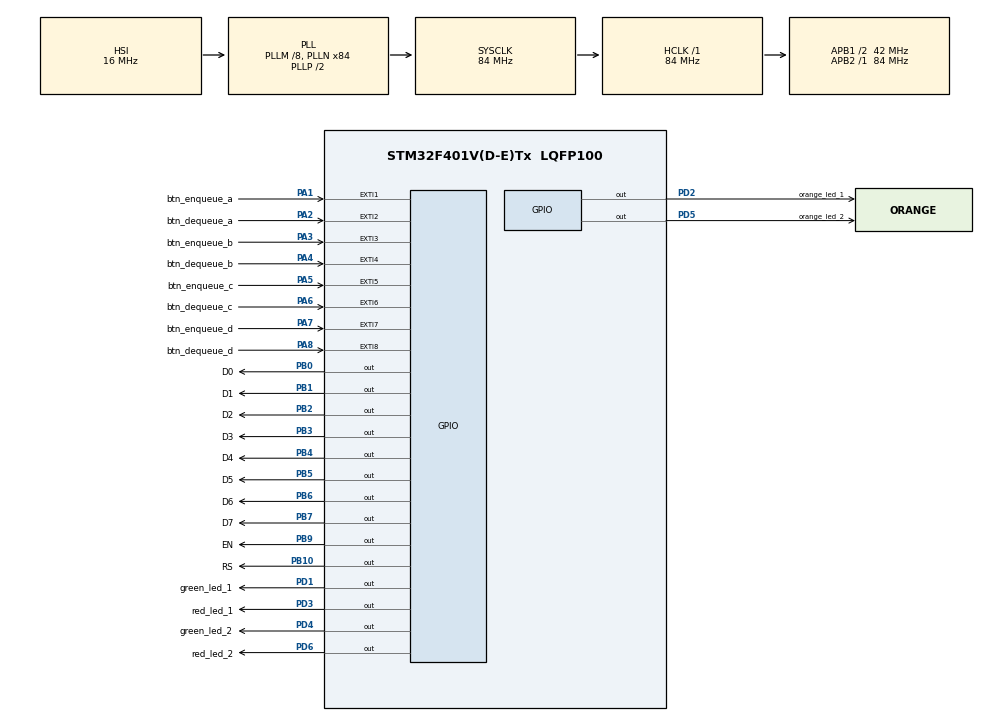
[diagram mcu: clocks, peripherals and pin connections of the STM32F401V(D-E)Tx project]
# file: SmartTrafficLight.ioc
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Mcu.Family=STM32F4
Mcu.Name=STM32F401V(D-E)Tx
Mcu.Package=LQFP100
NVIC.EXTI1_IRQn=true\:0\:0\:false\:false\:true\:true\:true
NVIC.EXTI2_IRQn=true\:0\:0\:false\:false\:true\:true\:true
NVIC.EXTI3_IRQn=true\:0\:0\:false\:false\:true\:true\:true
NVIC.EXTI4_IRQn=true\:0\:0\:false\:false\:true\:true\:true
NVIC.EXTI9_5_IRQn=true\:0\:0\:false\:false\:true\:true\:true
NVIC.PriorityGroup=NVIC_PRIORITYGROUP_4
PA1.GPIO_Label=btn_enqueue_a
PA1.GPIO_PuPd=GPIO_PULLUP
PA1.Signal=GPXTI1
PA2.GPIO_Label=btn_dequeue_a
PA2.Signal=GPXTI2
PA3.GPIO_Label=btn_enqueue_b
PA3.Signal=GPXTI3
PA4.GPIO_Label=btn_dequeue_b
PA4.Signal=GPXTI4
PA5.GPIO_Label=btn_enqueue_c
PA5.Signal=GPXTI5
PA6.GPIO_Label=btn_dequeue_c
PA6.Signal=GPXTI6
PA7.GPIO_Label=btn_enqueue_d
PA7.Signal=GPXTI7
PA8.GPIO_Label=btn_dequeue_d
PA8.Signal=GPXTI8
PB0.GPIO_Label=D0
PB0.Signal=GPIO_Output
PB1.GPIO_Label=D1
PB1.Signal=GPIO_Output
PB10.GPIO_Label=RS
PB10.Signal=GPIO_Output
PB2.GPIO_Label=D2
PB2.Signal=GPIO_Output
PB3.GPIO_Label=D3
PB3.Signal=GPIO_Output
PB4.GPIO_Label=D4
PB4.Signal=GPIO_Output
PB5.GPIO_Label=D5
PB5.Signal=GPIO_Output
PB6.GPIO_Label=D6
PB6.Signal=GPIO_Output
PB7.GPIO_Label=D7
PB7.Signal=GPIO_Output
PB9.GPIO_Label=EN
PB9.Signal=GPIO_Output
PD1.GPIO_Label=green_led_1
PD1.Signal=GPIO_Output
PD2.GPIO_Label=orange_led_1
PD2.Signal=GPIO_Output
PD3.GPIO_Label=red_led_1
PD3.Signal=GPIO_Output
PD4.GPIO_Label=green_led_2
PD4.Signal=GPIO_Output
PD5.GPIO_Label=orange_led_2
PD5.Signal=GPIO_Output
PD6.GPIO_Label=red_led_2
PD6.Signal=GPIO_Output
PH0\ -\ OSC_IN.Mode=HSE-External-Oscillator
PH0\ -\ OSC_IN.Signal=RCC_OSC_IN
PH1\ -\ OSC_OUT.Mode=HSE-External-Oscillator
PH1\ -\ OSC_OUT.Signal=RCC_OSC_OUT
ProjectManager.HeapSize=0x200
ProjectManager.StackSize=0x400
ProjectManager.TargetToolchain=STM32CubeIDE
RCC.48MHZClocksFreq_Value=42000000
RCC.AHBFreq_Value=84000000
RCC.APB1CLKDivider=RCC_HCLK_DIV2
RCC.APB1Freq_Value=42000000
RCC.APB1TimFreq_Value=84000000
RCC.APB2Freq_Value=84000000
RCC.APB2TimFreq_Value=84000000
RCC.CortexFreq_Value=84000000
RCC.HCLKFreq_Value=84000000
RCC.HSE_VALUE=25000000
RCC.HSI_VALUE=16000000
RCC.LSE_VALUE=32768
RCC.PLLM=8
RCC.PLLN=84
RCC.SYSCLKFreq_VALUE=84000000
RCC.SYSCLKSource=RCC_SYSCLKSOURCE_PLLCLK
RCC.VCOOutputFreq_Value=168000000
board=custom

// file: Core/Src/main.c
/* USER CODE BEGIN Header */
/**
  ******************************************************************************
  * @file           : main.c
  * @brief          : Main program body
  ******************************************************************************
  * @attention
  *
  * <h2><center>&copy; Copyright (c) 2021 STMicroelectronics.
  * All rights reserved.</center></h2>
  *
  * This software component is licensed by ST under BSD 3-Clause license,
  * the "License"; You may not use this file except in compliance with the
  * License. You may obtain a copy of the License at:
  *                        opensource.org/licenses/BSD-3-Clause
  *
  ******************************************************************************
  */

#include "led.h"
#include "lcd16x2.h"
#include "traffic_manager.h"

/* USER CODE END Header */
#include "main.h"
#include "gpio.h"

void SystemClock_Config(void);

/* USER CODE BEGIN 0 */

int queue_a, queue_b, queue_c, queue_d;
int priority[2] = {0};
//static uint8_t lastButton_A_Status = GPIO_PIN_RESET;
int quota = 0; //nombre de vÃ©hicule qui doit libÃ©rer la voie avant de basculer

void show_quota(){
//	lcd16x2_clear();
	lcd16x2_setCursor(0, 0);
//	lcd16x2_1stLine();
	lcd16x2_printf("a:%d/b:%d/c:%d/d:%d", queue_a, queue_b, queue_c, queue_d);
//	lcd16x2_2ndLine();
	lcd16x2_setCursor(1,0);
	lcd16x2_printf("quota : %d      ", quota);
//	HAL_Delay(50);
//	lcd16x2_clear();
//	lcd16x2_cursorShow(1);
}

int check_value(int value)
{
	if(value < 0 || value >= 250)
		value = 0;
	return value;
}

void reanalyse(void){
	if(quota == 2){
		 blink_orange_led(priority);
		 show_quota();
	 }else if(quota == 0){
		 quota = analyse_queues_situation(&queue_a, &queue_b, &queue_c, &queue_d, priority);
	 }
}

/* USER CODE END 0 */

int main(void)
{

  /* MCU Configuration--------------------------------------------------------*/

  /* Reset of all peripherals, Initializes the Flash interface and the Systick. */
  HAL_Init();

  /* Configure the system clock */
  SystemClock_Config();

  /* Initialize all configured peripherals */
  MX_GPIO_Init();
  /* USER CODE BEGIN 2 */
  lcd16x2_init_4bits(RS_GPIO_Port, RS_Pin, EN_Pin,
		  D4_GPIO_Port, D4_Pin, D5_Pin, D6_Pin, D7_Pin);
  lcd16x2_twoLines();
  lcd16x2_cursorShow(0);

  /* USER CODE END 2 */

  /* Infinite loop */
  /* USER CODE BEGIN WHILE */

  queue_a =0, queue_b =0, queue_c = 0, queue_d = 0;

  while (1)
  {
	  show_quota();
//	  HAL_Delay(150);
	  if(queue_a == 0 && queue_b==0 && queue_c==0 && queue_d==0){
		  blink_led_off();
		  lcd16x2_clear();
		  lcd16x2_printf("Standby mode");
		  HAL_Delay(250);
	  } else{
		  if(quota == 0){
			  quota = analyse_queues_situation(&queue_a, &queue_b, &queue_c, &queue_d, priority);
		  }
		  show_quota();
	  }

    /* USER CODE END WHILE */

    /* USER CODE BEGIN 3 */

	  quota = check_value(quota);
	  queue_a = check_value(queue_a);
	  queue_b = check_value(queue_b);
	  queue_c = check_value(queue_c);
	  queue_d = check_value(queue_d);
//
//	  HAL_Delay(50);
  }
  /* USER CODE END 3 */
}

void SystemClock_Config(void)
{
  RCC_OscInitTypeDef RCC_OscInitStruct = {0};
  RCC_ClkInitTypeDef RCC_ClkInitStruct = {0};

  /** Configure the main internal regulator output voltage
  */
  __HAL_RCC_PWR_CLK_ENABLE();
  __HAL_PWR_VOLTAGESCALING_CONFIG(PWR_REGULATOR_VOLTAGE_SCALE2);
  /** Initializes the RCC Oscillators according to the specified parameters
  * in the RCC_OscInitTypeDef structure.
  */
  RCC_OscInitStruct.OscillatorType = RCC_OSCILLATORTYPE_HSI;
  RCC_OscInitStruct.HSIState = RCC_HSI_ON;
  RCC_OscInitStruct.HSICalibrationValue = RCC_HSICALIBRATION_DEFAULT;
  RCC_OscInitStruct.PLL.PLLState = RCC_PLL_ON;
  RCC_OscInitStruct.PLL.PLLSource = RCC_PLLSOURCE_HSI;
  RCC_OscInitStruct.PLL.PLLM = 8;
  RCC_OscInitStruct.PLL.PLLN = 84;
  RCC_OscInitStruct.PLL.PLLP = RCC_PLLP_DIV2;
  RCC_OscInitStruct.PLL.PLLQ = 4;
  if (HAL_RCC_OscConfig(&RCC_OscInitStruct) != HAL_OK)
  {
    Error_Handler();
  }
  /** Initializes the CPU, AHB and APB buses clocks
  */
  RCC_ClkInitStruct.ClockType = RCC_CLOCKTYPE_HCLK|RCC_CLOCKTYPE_SYSCLK
                              |RCC_CLOCKTYPE_PCLK1|RCC_CLOCKTYPE_PCLK2;
  RCC_ClkInitStruct.SYSCLKSource = RCC_SYSCLKSOURCE_PLLCLK;
  RCC_ClkInitStruct.AHBCLKDivider = RCC_SYSCLK_DIV1;
  RCC_ClkInitStruct.APB1CLKDivider = RCC_HCLK_DIV2;
  RCC_ClkInitStruct.APB2CLKDivider = RCC_HCLK_DIV1;

  if (HAL_RCC_ClockConfig(&RCC_ClkInitStruct, FLASH_LATENCY_2) != HAL_OK)
  {
    Error_Handler();
  }
}

void alert_empty_queue_error() {
	lcd16x2_1stLine();
	lcd16x2_printf("ERROR MESSAGE");
	lcd16x2_2ndLine();
	lcd16x2_printf("empty queue");
}

/* USER CODE BEGIN 4 */
void HAL_GPIO_EXTI_Callback(uint16_t GPIO_Pin)
{
	UNUSED(GPIO_Pin);

	if(GPIO_Pin == btn_enqueue_a_Pin){
		++queue_a;
	}

	if(GPIO_Pin == btn_dequeue_a_Pin){
		if(queue_a > 0 ){
			--queue_a;
			--quota;
			reanalyse();
		} else{
			alert_empty_queue_error();
		}
	}

	if(GPIO_Pin == btn_enqueue_b_Pin){
		++queue_b;
	}

	if(GPIO_Pin == btn_dequeue_b_Pin){
		if(queue_b > 0){
			--queue_b;
			--quota;
			reanalyse();
		}else{
			alert_empty_queue_error();
		}
	}

	if(GPIO_Pin == btn_enqueue_c_Pin){
		++queue_c;
	}

	if(GPIO_Pin == btn_dequeue_c_Pin){
		if(queue_c > 0){
			--queue_c;
			--quota;
			reanalyse();
		}else{
			alert_empty_queue_error();
		}
	}

	if(GPIO_Pin == btn_enqueue_d_Pin){
		++queue_d;
	}

	if(GPIO_Pin == btn_dequeue_d_Pin){
		if(queue_d > 0){
			--queue_d;
			--quota;
			reanalyse();
		}else{
			alert_empty_queue_error();
		}
	}

}
/* USER CODE END 4 */

void Error_Handler(void)
{
  __disable_irq();
  while (1)
  {
  }
}

/************************ (C) COPYRIGHT STMicroelectronics *****END OF FILE****/
